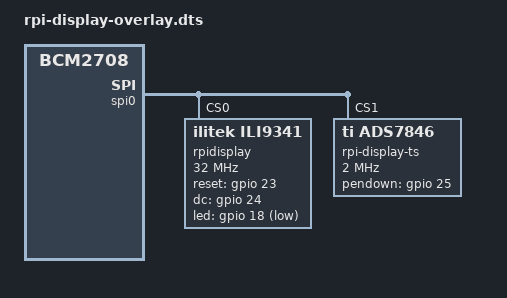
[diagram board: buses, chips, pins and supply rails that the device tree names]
/*
 * Device Tree overlay for rpi-display by Watterott
 *
 */

/dts-v1/;
/plugin/;

/ {
	compatible = "brcm,bcm2708";
	
	fragment@0 {
		target = <&spi0>;
		__overlay__ {
			status = "okay";

			spidev@0{
				status = "disabled";
			};

			spidev@1{
				status = "disabled";
			};
		};
	};

	fragment@1 {
		target = <&gpio>;
		__overlay__ {
			rpi-display-pins {
				brcm,pins = <18 23 24 25>;
				brcm,function = <1 1 1 0>; /* out out out in */
			};
		};
	};

	fragment@2 {
		target = <&spi0>;
		__overlay__ {
			/* needed to avoid dtc warning */
			#address-cells = <1>;
			#size-cells = <0>;

			rpidisplay: rpi-display@0{
				compatible = "ilitek,ili9341";
				reg = <0>;
				status = "okay";

				spi-max-frequency = <32000000>;
				rotate = <270>;
				bgr;
				fps = <30>;
				buswidth = <8>;
				reset-gpios = <&gpio 23 0>;
				dc-gpios = <&gpio 24 0>;
				led-gpios = <&gpio 18 1>;
				debug = <0>;
			};

			rpi-display-ts@1 {
				compatible = "ti,ads7846";
				reg = <1>;
				status = "okay";

				spi-max-frequency = <2000000>;
				interrupts = <3 25>;
				pendown-gpio = <&gpio 25 0>;
				ti,x-plate-ohms = /bits/ 16 <60>;
				ti,pressure-max = /bits/ 16 <255>;
			};
		};
	};
	__overrides__ {
		fbtft_speed =   <&rpidisplay>,"spi-max-frequency:0";
		fbtft_rotate =  <&rpidisplay>,"rotate:0";
		fbtft_fps =     <&rpidisplay>,"fps:0";
		fbtft_debug =   <&rpidisplay>,"debug:0";
	};
};
